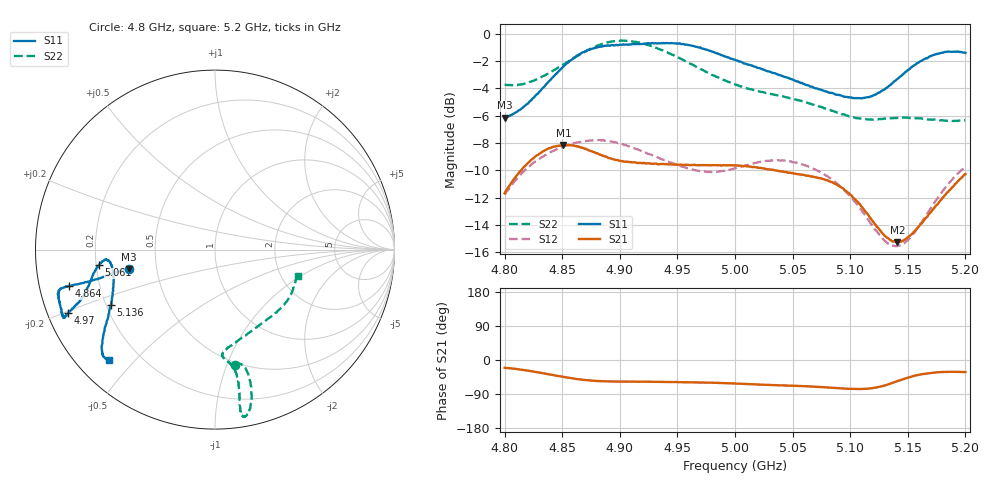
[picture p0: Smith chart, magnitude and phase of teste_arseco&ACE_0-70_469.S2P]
! Network Analyzer HP8722D
! Hewlett-Packard
! Data name: Linha & Wilkinson
! Saver's name: Rodrigo Anjos
! Comments: Teste da utilização de aquisição
! continua pelo VNA HP8722D
! Time and date: 8/5/2025 16:40
!  Frequency  S11  S21  S12  S22
# HZ  S  MA R 50
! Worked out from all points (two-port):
!   401 points, 4.8 GHz to 5.2 GHz, reference 50 ohm
!   highest |S21| = -8.14 dB at 4.851 GHz (marker M1); lowest = -15.3 dB at 5.141 GHz (marker M2)
!   |S21| within 3 dB of the highest: 4.804 GHz to 5.09 GHz (286.1 MHz wide, 5.78 % of centre); 5.190036 GHz to end of sweep
!   lowest |S11| = -6.1 dB at 4.8 GHz (marker M3), VSWR 2.95, Z = 17.2 - j4.87 ohm
!   |S11| at or under -10 dB: nowhere
!   |S22| runs from -6.4 to -0.5 dB; largest |S21 - S12| = 0.62
!   S11 on the Smith chart (normalised r, x): 4.8 GHz: 0.34, -0.10; 4.864 GHz: 0.09, -0.12; 4.97 GHz: 0.06, -0.21; 5.061 GHz: 0.21, -0.06; 5.136 GHz: 0.22, -0.24; 5.2 GHz: 0.09, -0.42
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4.8e9  0.4932 -167.4  0.2608 -20.5  0.2578 -141.7  0.6517 -80.2
4.821e9  0.5607 -167.1  0.3389 -28.5  0.3256 -144.8  0.6629 -76.4
4.851e9  0.7592 -165.8  0.3919 -44.6  0.3873 -150.5  0.7727 -75.1
4.864e9  0.8376 -165.9  0.3872 -50.6  0.4008 -152.4  0.8331 -75.9
4.867e9  0.8524 -165.9  0.3834 -51.8  0.4031 -152.9  0.8481 -76.1
4.883e9  0.8973 -165.2  0.3608 -55.7  0.4084 -155.4  0.9126 -77.9
4.899e9  0.9099 -163.0  0.3435 -57.0  0.3978 -157.2  0.9428 -79.8
4.934e9  0.9247 -156.6  0.333 -57.7  0.351 -155.8  0.8789 -81.0
4.97e9  0.8922 -156.6  0.3309 -59.4  0.3145 -147.2  0.7433 -80.0
5e9  0.8044 -159.1  0.3297 -62.2  0.3223 -137.6  0.6525 -81.6
5.036e9  0.7131 -166.1  0.3159 -66.5  0.3443 -135.1  0.5963 -85.9
5.061e9  0.6517 -172.4  0.3035 -69.1  0.3301 -137.1  0.5636 -84.1
5.067e9  0.6403 -173.4  0.3004 -70.0  0.3231 -137.6  0.5517 -82.6
5.083e9  0.6081 -174.6  0.2869 -73.0  0.2952 -139.1  0.5258 -76.4
5.1e9  0.584 -171.7  0.2578 -76.1  0.2541 -139.4  0.499 -66.4
5.115e9  0.5868 -165.0  0.2191 -75.5  0.2103 -135.6  0.4856 -55.8
5.134e9  0.6455 -153.3  0.1767 -63.6  0.1694 -118.9  0.4897 -42.8
5.136e9  0.6573 -152.0  0.1746 -61.4  0.1677 -116.4  0.4904 -41.7
5.141e9  0.6844 -149.6  0.1726 -55.8  0.167 -109.8  0.4927 -38.8
5.152e9  0.7468 -145.0  0.1828 -44.8  0.1789 -95.7  0.4919 -33.0
5.172e9  0.8364 -139.0  0.2277 -33.6  0.237 -81.0  0.485 -24.6
5.2e9  0.8521 -133.8  0.3066 -31.9  0.3256 -77.5  0.4826 -17.7
